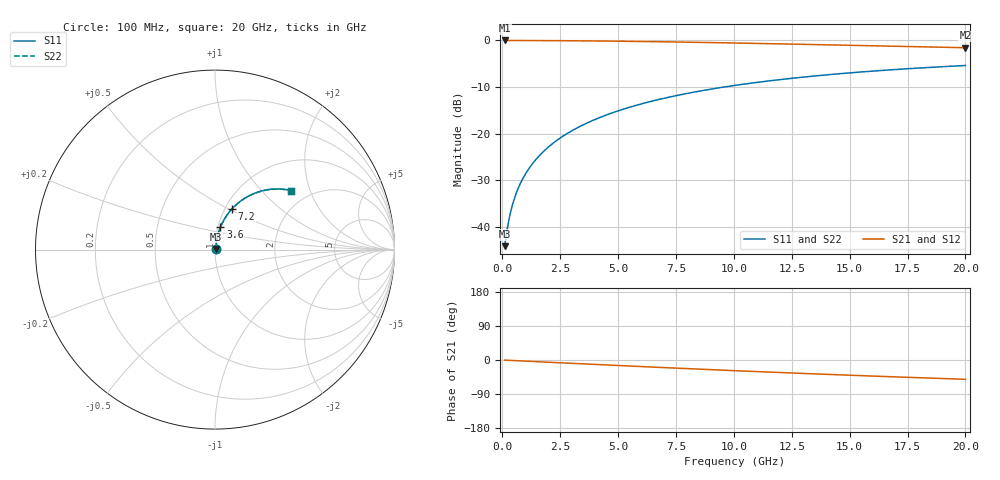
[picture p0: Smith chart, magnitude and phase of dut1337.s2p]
! Touchstone file exported from HFSS 2026.1.0
!  File:  C:/ffzhzh/LocalFiles/Ansys_Project_Files/temp_train_BSMRDL_1337_1783178778_55132.aedt
!  Generated:  11:27:38 PM Jul  4, 2026
!  Design:  BSMRDL
!  Project:  temp_train_BSMRDL_1337_1783178778_55132
! Variables:
!  h_bsmrdl = 2.88um
!  h_ox = 20um
!  h_rdl = 5um
!  h_sub = 80um
!  h_tmrdl = 5um
!  h_tsv = 80um
!  h_via = 3um
!  l_bsmrdl = 694.79um
!  l_sub = 1094.79um
!  l_tmrdl = 200um
!  m_sub = 200um
!  pitch = 58.25um
!  r_tsv = 6um
!  s_tmrdl = 10um
!  w_bsmrdl = 17.93um
!  w_sub = 500um
!  w_tmrdl = 12um
!  x_tsv_center1 = 206um
!  x_tsv_center2 = 918.72um
!  x_tsv_center3 = 1130.72um
!  x_tsv_center4 = 1843.44um
!  x_tsv_center5 = 2055.44um
!  x_tsv_center6 = 2768.16um
# GHz S MA R 50.000000
! Terminal data exported
! Port[1] = BSM_RDL1_1_T1
! Port[2] = BSM_RDL1_1_T2
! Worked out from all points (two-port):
!   200 points, 100 MHz to 20 GHz, reference 50 ohm
!   highest |S21| = -0.04 dB at 100 MHz (marker M1); lowest = -1.6 dB at 20 GHz (marker M2)
!   |S21| within 3 dB of the highest: start of sweep to end of sweep
!   lowest |S11| = -44.1 dB at 100 MHz (marker M3), VSWR 1.01, Z = 50.5 + j0.382 ohm
!   |S11| at or under -10 dB: start of sweep to 9.607 GHz
!   |S22| runs from -44.1 to -5.4 dB; largest |S21 - S12| = 4.6e-15
!   S11 on the Smith chart (normalised r, x): 100 MHz: 1.01, +0.01; 3.6 GHz: 1.03, +0.26; 7.2 GHz: 1.08, +0.52; 20 GHz: 1.62, +1.49
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0.1  0.006217 37.5  0.9951 -0.3  0.9951 -0.3  0.006217 37.5
! Gamma 0 0 0 0
! Port Impedance 50 0 50 0
0.2  0.009097 56.0  0.995 -0.6  0.995 -0.6  0.009097 56.0
0.3  0.01243 64.6  0.9948 -0.9  0.9948 -0.9  0.01243 64.6
0.4  0.01589 69.3  0.9946 -1.2  0.9946 -1.2  0.01589 69.3
0.5  0.01939 72.2  0.9944 -1.5  0.9944 -1.5  0.01939 72.2
0.6  0.02288 74.1  0.9942 -1.8  0.9942 -1.8  0.02289 74.1
0.8  0.02989 76.5  0.9938 -2.4  0.9938 -2.4  0.02989 76.5
1.1  0.04042 78.2  0.9932 -3.3  0.9932 -3.3  0.04042 78.2
1.5  0.05449 79.1  0.9924 -4.4  0.9924 -4.4  0.05449 79.1
2.1  0.0756 79.0  0.9908 -6.2  0.9908 -6.2  0.0756 79.0
2.7  0.09662 78.2  0.9888 -7.9  0.9888 -7.9  0.09662 78.2
3.5  0.1244 76.6  0.9854 -10.2  0.9854 -10.2  0.1244 76.6
3.6  0.1278 76.4  0.9849 -10.5  0.9849 -10.5  0.1278 76.4
4.3  0.1517 74.8  0.9813 -12.5  0.9813 -12.5  0.1517 74.7
5  0.1751 73.0  0.9771 -14.5  0.9771 -14.5  0.1751 73.0
6.8  0.2332 68.4  0.9641 -19.5  0.9641 -19.5  0.2332 68.4
7.2  0.2456 67.4  0.9608 -20.6  0.9608 -20.6  0.2457 67.3
8.6  0.2876 63.8  0.9485 -24.4  0.9485 -24.4  0.2876 63.7
10.1  0.3298 60.0  0.9341 -28.3  0.9341 -28.3  0.3298 59.9
13.4  0.4122 52.0  0.8999 -36.5  0.8999 -36.5  0.4122 51.9
16.7  0.4807 44.7  0.865 -44.0  0.865 -44.0  0.4808 44.5
20  0.5363 37.9  0.8319 -51.0  0.8319 -51.0  0.5363 37.7
